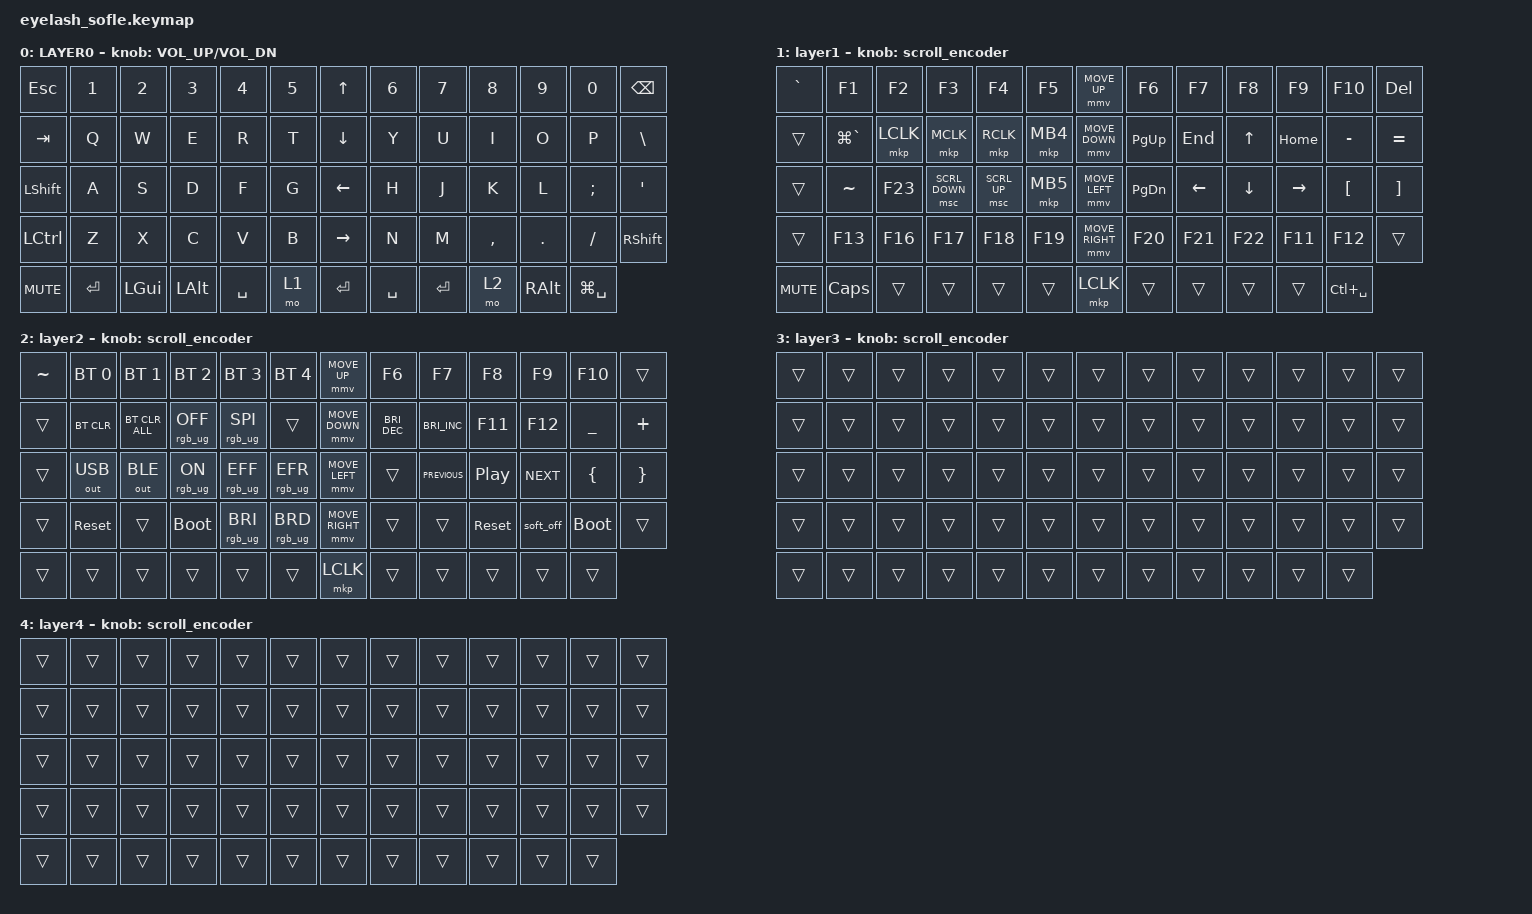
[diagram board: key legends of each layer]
#define ZMK_POINTING_DEFAULT_MOVE_VAL 1200  // 600
#define ZMK_POINTING_DEFAULT_SCRL_VAL 25   // 10

#include <input/processors.dtsi>
#include <zephyr/dt-bindings/input/input-event-codes.h>
#include <behaviors.dtsi>
#include <dt-bindings/zmk/bt.h>
#include <dt-bindings/zmk/keys.h>
#include <dt-bindings/zmk/outputs.h>
#include <dt-bindings/zmk/pointing.h>
#include <dt-bindings/zmk/rgb.h>

&mmv_input_listener { input-processors = <&zip_xy_scaler 2 1>; };

&msc_input_listener { input-processors = <&zip_scroll_scaler 2 1>; };

&msc {
    acceleration-exponent = <1>;      // 0
    time-to-max-speed-ms = <100>;       // 300
    delay-ms = <0>;                   // 0
};

&mmv {
    time-to-max-speed-ms = <500>;
    acceleration-exponent = <1>;
    trigger-period-ms = <16>;
};

&soft_off { hold-time-ms = <2000>; };

/ {
    scroll_encoder: scroll_encoder {
        compatible = "zmk,behavior-sensor-rotate";
        #sensor-binding-cells = <0>;
        bindings = <&msc SCRL_DOWN>, <&msc SCRL_UP>;

        tap-ms = <100>;
    };

    behaviors {
    };

    combos {
        compatible = "zmk,combos";

        softoff {
            bindings = <&soft_off>;
            key-positions = <14 28 40>;
        };
    };

    macros {
        SHIFT_MCLK: SHIFT_MCLK {
            compatible = "zmk,behavior-macro";
            #binding-cells = <0>;
            bindings =
                <&macro_press>,
                <&kp LEFT_SHIFT>,
                <&macro_press>,
                <&mkp MB3>,
                <&macro_pause_for_release>,
                <&macro_release>,
                <&kp LEFT_SHIFT &mkp MB3>;

            label = "SHIFT_MCLK";
        };
    };

    keymap {
        compatible = "zmk,keymap";

        layer0 {
            bindings = <
&kp ESC           &kp N1     &kp N2        &kp N3        &kp N4     &kp N5    &kp UP_ARROW     &kp N6     &kp N7     &kp N8     &kp N9         &kp N0         &kp BACKSPACE
&kp TAB           &kp Q      &kp W         &kp E         &kp R      &kp T     &kp DOWN_ARROW   &kp Y      &kp U      &kp I      &kp O          &kp P          &kp BSLH
&kp LEFT_SHIFT    &kp A      &kp S         &kp D         &kp F      &kp G     &kp LEFT_ARROW   &kp H      &kp J      &kp K      &kp L          &kp SEMI       &kp APOS
&kp LEFT_CONTROL  &kp Z      &kp X         &kp C         &kp V      &kp B     &kp RIGHT_ARROW  &kp N      &kp M      &kp COMMA  &kp DOT        &kp FSLH       &kp RIGHT_SHIFT
&kp C_MUTE        &kp ENTER  &kp LEFT_GUI  &kp LEFT_ALT  &kp SPACE  &mo 1     &kp ENTER        &kp SPACE  &kp ENTER  &mo 2      &kp RIGHT_ALT  &kp LG(SPACE)
            >;

            sensor-bindings = <&inc_dec_kp C_VOLUME_UP C_VOL_DN>;
            display-name = "LAYER0";
        };

        layer_1 {
            bindings = <
&kp GRAVE   &kp F1         &kp F2     &kp F3          &kp F4        &kp F5      &mmv MOVE_UP     &kp F6     &kp F7    &kp F8    &kp F9     &kp F10           &kp DELETE
&trans      &kp LG(GRAVE)  &mkp LCLK  &mkp MCLK       &mkp RCLK     &mkp MB4    &mmv MOVE_DOWN   &kp PG_UP  &kp END   &kp UP    &kp HOME   &kp MINUS         &kp EQUAL
&trans      &kp TILDE      &kp F23    &msc SCRL_DOWN  &msc SCRL_UP  &mkp MB5    &mmv MOVE_LEFT   &kp PG_DN  &kp LEFT  &kp DOWN  &kp RIGHT  &kp LEFT_BRACKET  &kp RIGHT_BRACKET
&trans      &kp F13        &kp F16    &kp F17         &kp F18       &kp F19     &mmv MOVE_RIGHT  &kp F20    &kp F21   &kp F22   &kp F11    &kp F12           &trans
&kp C_MUTE  &kp CAPSLOCK   &trans     &trans          &trans        &trans      &mkp LCLK        &trans     &trans    &trans    &trans     &kp LC(SPACE)
            >;

            display-name = "layer1";
            sensor-bindings = <&scroll_encoder>;
        };

        layer_2 {
            bindings = <
&kp TILDE  &bt BT_SEL 0  &bt BT_SEL 1    &bt BT_SEL 2     &bt BT_SEL 3     &bt BT_SEL 4       &mmv MOVE_UP     &kp F6                &kp F7                &kp F8            &kp F9      &kp F10      &trans
&trans     &bt BT_CLR    &bt BT_CLR_ALL  &rgb_ug RGB_OFF  &rgb_ug RGB_SPI  &trans             &mmv MOVE_DOWN   &kp C_BRIGHTNESS_DEC  &kp C_BRIGHTNESS_INC  &kp F11           &kp F12     &kp UNDER    &kp PLUS
&trans     &out OUT_USB  &out OUT_BLE    &rgb_ug RGB_ON   &rgb_ug RGB_EFF  &rgb_ug RGB_EFR    &mmv MOVE_LEFT   &trans                &kp C_PREVIOUS        &kp C_PLAY_PAUSE  &kp C_NEXT  &kp LBRC     &kp RBRC
&trans     &sys_reset    &trans          &bootloader      &rgb_ug RGB_BRI  &rgb_ug RGB_BRD    &mmv MOVE_RIGHT  &trans                &trans                &sys_reset        &soft_off   &bootloader  &trans
&trans     &trans        &trans          &trans           &trans           &trans             &mkp LCLK        &trans                &trans                &trans            &trans      &trans
            >;

            display-name = "layer2";
            sensor-bindings = <&scroll_encoder>;
        };

        layer_3 {
            bindings = <
&trans  &trans  &trans  &trans  &trans  &trans    &trans  &trans  &trans  &trans  &trans  &trans  &trans
&trans  &trans  &trans  &trans  &trans  &trans    &trans  &trans  &trans  &trans  &trans  &trans  &trans
&trans  &trans  &trans  &trans  &trans  &trans    &trans  &trans  &trans  &trans  &trans  &trans  &trans
&trans  &trans  &trans  &trans  &trans  &trans    &trans  &trans  &trans  &trans  &trans  &trans  &trans
&trans  &trans  &trans  &trans  &trans  &trans    &trans  &trans  &trans  &trans  &trans  &trans
            >;

            display-name = "layer3";
            sensor-bindings = <&scroll_encoder>;
        };

        layer_4 {
            bindings = <
&trans  &trans  &trans  &trans  &trans  &trans    &trans  &trans  &trans  &trans  &trans  &trans  &trans
&trans  &trans  &trans  &trans  &trans  &trans    &trans  &trans  &trans  &trans  &trans  &trans  &trans
&trans  &trans  &trans  &trans  &trans  &trans    &trans  &trans  &trans  &trans  &trans  &trans  &trans
&trans  &trans  &trans  &trans  &trans  &trans    &trans  &trans  &trans  &trans  &trans  &trans  &trans
&trans  &trans  &trans  &trans  &trans  &trans    &trans  &trans  &trans  &trans  &trans  &trans
            >;

            display-name = "layer4";
            sensor-bindings = <&scroll_encoder>;
        };
    };
};
